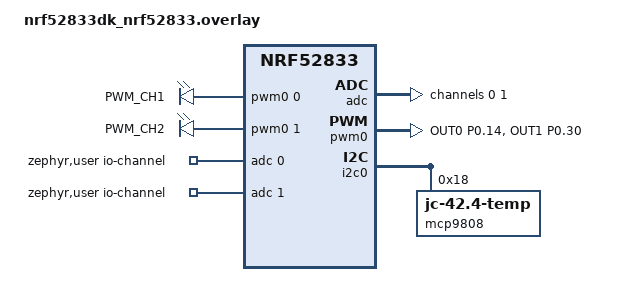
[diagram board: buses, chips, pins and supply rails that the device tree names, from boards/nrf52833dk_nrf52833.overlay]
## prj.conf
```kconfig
CONFIG_LOG=y
CONFIG_LOG_MODE_DEFERRED=y
CONFIG_LOG_BUFFER_SIZE= 2048
# CONFIG_MAIN_STACK_SIZE=4096

CONFIG_SMF=y
CONFIG_EVENTS=y
CONFIG_ADC=y
CONFIG_ADC_ASYNC=y
CONFIG_PWM=y
CONFIG_SENSOR=y
CONFIG_CBPRINTF_FP_SUPPORT=y

CONFIG_DEBUG_OPTIMIZATIONS=y
CONFIG_DEBUG_THREAD_INFO=y

# BLE
CONFIG_BT=y
CONFIG_BT_PERIPHERAL=y
CONFIG_BT_DEVICE_NAME="JESSICA_RUNS_SOMETIMES"
CONFIG_BT_DEVICE_APPEARANCE=0
CONFIG_BT_MAX_CONN=1
CONFIG_BT_LL_SOFTDEVICE=y
CONFIG_BT_BAS=y 
CONFIG_BT_HRS=y
CONFIG_BT_SETTINGS=y
CONFIG_SETTINGS_RUNTIME=y
CONFIG_SETTINGS=y
CONFIG_SETTINGS_NONE=y
CONFIG_BT_GATT_CACHING=n

# DIS (Device Information Service)
CONFIG_BT_DIS=y
CONFIG_BT_DIS_SETTINGS=y
CONFIG_BT_DIS_STR_MAX=25
CONFIG_BT_DIS_MODEL="HLM35_Device"
CONFIG_BT_DIS_MANUF="Duke_University"
CONFIG_BT_DIS_SERIAL_NUMBER=y
CONFIG_BT_DIS_SERIAL_NUMBER_STR="0001"
CONFIG_BT_DIS_FW_REV=y
CONFIG_BT_DIS_FW_REV_STR="1.0.0" 
CONFIG_BT_DIS_HW_REV=y
CONFIG_BT_DIS_HW_REV_STR="1.0.0"
CONFIG_BT_DIS_SW_REV=y
CONFIG_BT_DIS_SW_REV_STR="1.0.0"
CONFIG_BT_DIS_PNP=y
CONFIG_BT_DIS_PNP_VID_SRC=1
CONFIG_BT_DIS_PNP_VID=0x01FF
```

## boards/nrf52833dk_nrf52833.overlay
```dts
/ {
	aliases {
        // add your aliases here; examples:
        heartbeat = &led0;
        battery = &led1;
        ecg = &led2;
        error = &led3; 
        idlereturnbutton = &button0;
        tempbutton = &button1;
        ecgbutton = &button2;  // this corresponds to SW1 on the board
        resetbutton = &button3;
        vadc = &vadc;
        diffch = &diffch;
        pwm1 = &pwmch1;
        pwm2 = &pwmch2;
	    };

        pwm {
            compatible = "pwm-leds";
            pwmch1: pwm_1 {
                pwms = < &pwm0 0 PWM_MSEC(1) PWM_POLARITY_INVERTED>;  // 0 - channel
                label = "PWM_CH1";
            };
            pwmch2: pwm_2 {
                pwms = < &pwm0 1 PWM_MSEC(1) PWM_POLARITY_INVERTED>; // 1 - channel
                label = "PWM_CH2";
            };
        };
        zephyr,user {
            io-channels = <&adc 0>, <&adc 1>; // need to "activate" these channels for IO usage
        };
       
};

&adc {
        #address-cells = <1>;
        #size-cells = <0>;

        vadc: channel@0 {
            reg = <0>;  // channel number
            zephyr,reference = "ADC_REF_INTERNAL";  // voltage ref for SA (0.6 V)
            zephyr,gain = "ADC_GAIN_1_5"; // gain factor to scale ref voltage (1/gain)
            zephyr,acquisition-time = <ADC_ACQ_TIME_DEFAULT>;
            zephyr,input-positive = <NRF_SAADC_AIN0>; // P0.02
            zephyr,resolution = <12>;  // bit depth
        };

        diffch: channel@1 {
        reg = <1>;
        zephyr,reference = "ADC_REF_INTERNAL";   // same reference
        zephyr,gain = "ADC_GAIN_1_5";            // same gain
        zephyr,acquisition-time = <ADC_ACQ_TIME_DEFAULT>;
        zephyr,input-positive = <NRF_SAADC_AIN1>; // P0.03
        zephyr,input-negative = <NRF_SAADC_AIN2>; // P0.04
        zephyr,resolution = <12>;
    };
        status = "okay"; // enable the ADC
    }; 

&pwm0 {
    compatible = "nordic,nrf-pwm";
    reg = <0x4001c000 0x1000>;
    interrupts = <28 NRF_DEFAULT_IRQ_PRIORITY>;
    status = "okay";
    #pwm-cells = <3>;
    pinctrl-0 = <&pwm0_default>;
    pinctrl-1 = <&pwm0_sleep>;
    pinctrl-names = "default", "sleep";
};

&pinctrl {
    compatible = "nordic,nrf-pinctrl";
    status = "okay";
    pwm0_default: pwm0_default {
        group1 {
            psels = <NRF_PSEL(PWM_OUT0, 0, 14)>, // P0.14 (for LED 2), channel 0
                    <NRF_PSEL(PWM_OUT1, 0, 30)>; // P0.30, channel 1
            nordic,invert;
        };
    };
    pwm0_sleep: pwm0_sleep {
        group1 {
            psels = <NRF_PSEL(PWM_OUT0, 0, 14)>, // P0.14 (for LED 2), channel 0
                    <NRF_PSEL(PWM_OUT1, 0, 30)>; // P0.30, channel 1
            low-power-enable;
        };
    };
}; 

&i2c0 {
    mcp9808@18{
        compatible = "jedec,jc-42.4-temp";
        reg = <0x18>;
        status = "okay";
    };

};
```

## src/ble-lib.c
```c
#include "ble-lib.h"

LOG_MODULE_REGISTER(blelib, LOG_LEVEL_DBG);

// define a semaphore to make sure that bt_init_ok() completes before proceeding
// this is probably overkill, but it's a good practice
static K_SEM_DEFINE(bt_init_ok, 1, 1);

#define DEVICE_NAME CONFIG_BT_DEVICE_NAME
#define DEVICE_NAME_LEN (sizeof(DEVICE_NAME)-1)
#define NOMINAL_BATTERY_VOLT_MV 3000  // this might make more sense to have in main.c

// extern means this is defined elsewhere (in this case, main.c)
extern int32_t temperature_degC;  // temperature data characteristic will read from this variable
extern struct k_event errors; // errors characteristic will read from this variable

enum bt_data_notifications_enabled notifications_enabled;

/* Advertising data */
static const struct bt_data ad[] = {
    BT_DATA_BYTES(BT_DATA_FLAGS, (BT_LE_AD_GENERAL | BT_LE_AD_NO_BREDR)),
    BT_DATA(BT_DATA_NAME_COMPLETE, DEVICE_NAME, DEVICE_NAME_LEN)
};

/* Scan response data */
static const struct bt_data sd[] = {
    BT_DATA_BYTES(BT_DATA_UUID128_ALL, BT_UUID_REMOTE_SERV_VAL), 
};

/* UUID of the Remote Service */
// Project ID: 065 (3rd entry)
// BLE MFG ID = 0x02DF (4th entry)
/*  UUID of Data Characteristic  */
struct bt_uuid_128 remote_temperature_data_uuid = BT_UUID_INIT_128(
    BT_UUID_128_ENCODE(0xe9ea0001, 0xe19b, 0x0065, 0x02DF, 0xc7907585fc48));
/*  UUID of Errors Characteristic  */
struct bt_uuid_128 remote_err_uuid = BT_UUID_INIT_128(
    BT_UUID_128_ENCODE(0xe9ea0002, 0xe19b, 0x0065, 0x02DF, 0xc7907585fc48));
/*  UUID of Message Characteristic   */
struct bt_uuid_128 remote_msg_uuid = BT_UUID_INIT_128(
    BT_UUID_128_ENCODE(0xe9ea0003, 0xe19b, 0x0065, 0x02DF, 0xc7907585fc48));

/* Setup services */
BT_GATT_SERVICE_DEFINE(remote_srv,
    BT_GATT_PRIMARY_SERVICE(BT_UUID_REMOTE_SERVICE),
    BT_GATT_CHARACTERISTIC(&remote_temperature_data_uuid.uuid,
                    BT_GATT_CHRC_READ | BT_GATT_CHRC_NOTIFY,
                    BT_GATT_PERM_READ,
                    read_temperature_data_cb, NULL, NULL),
    BT_GATT_CCC(ccc_cfg_changed_cb, BT_GATT_PERM_READ | BT_GATT_PERM_WRITE),
    BT_GATT_CHARACTERISTIC(&remote_err_uuid.uuid,
                    BT_GATT_CHRC_READ | BT_GATT_CHRC_NOTIFY,
                    BT_GATT_PERM_WRITE | BT_GATT_PERM_READ,
                    read_error_cb, NULL, NULL),
    BT_GATT_CCC(ccc_cfg_changed_cb, BT_GATT_PERM_READ | BT_GATT_PERM_WRITE),
    BT_GATT_CHARACTERISTIC(&remote_msg_uuid.uuid,
                    BT_GATT_CHRC_WRITE_WITHOUT_RESP,
                    BT_GATT_PERM_WRITE,
                    NULL, on_write, NULL),
    BT_GATT_CCC(ccc_cfg_changed_cb, BT_GATT_PERM_READ | BT_GATT_PERM_WRITE),
);

struct bt_conn *current_conn;
struct bt_conn_cb bluetooth_callbacks = {
    .connected = on_connected,
    .disconnected = on_disconnected,
};

struct bt_remote_srv_cb remote_service_callbacks = {
    .notif_changed = on_notif_changed,
    .data_rx = on_data_rx,
};

/* Callbacks */
void on_data_rx(struct bt_conn *conn, const uint8_t *const data, uint16_t len) {
    // copy the data to a temporary buffer and append a NULL character
    uint8_t temp_str[len+1];
    memcpy(temp_str, data, len);
    temp_str[len] = 0x00;  // append NULL character at the end
    LOG_INF("BT received data on conn %p. Len: %d", (void *)conn, len);
    LOG_INF("Data: %s", temp_str);
}

void on_connected(struct bt_conn *conn, uint8_t ret) {
    if (ret) {
        LOG_ERR("Connection error: %d", ret);
        return;
    }
    LOG_INF("BT connected");
    current_conn = bt_conn_ref(conn);
}

void on_disconnected(struct bt_conn *conn, uint8_t reason) {
    LOG_INF("BT disconnected (reason: %d)", reason);
    if (current_conn) {
        bt_conn_unref(current_conn);
        current_conn = NULL;
    }
}

void on_notif_changed(enum bt_data_notifications_enabled status) {
    if (status == BT_DATA_NOTIFICATIONS_ENABLED) {
        LOG_INF("BT notifications enabled");
    } else {
        LOG_INF("BT notifications disabled");
    }
}

const struct bt_gatt_attr *attr = &remote_srv.attrs[2];

void ccc_cfg_changed_cb(const struct bt_gatt_attr *attr, uint16_t value) {
    bool notif_enabled = (value == BT_GATT_CCC_NOTIFY);
    LOG_INF("Notifications: %s", notif_enabled? "enabled":"disabled");
    notifications_enabled = notif_enabled? BT_DATA_NOTIFICATIONS_ENABLED:BT_DATA_NOTIFICATIONS_DISABLED;
    if (remote_service_callbacks.notif_changed) {
        remote_service_callbacks.notif_changed(notifications_enabled);
    }
}

/* These callbacks are used when a read request is made to the remote service */
ssize_t read_temperature_data_cb(struct bt_conn *conn, const struct bt_gatt_attr *attr, void *buf, uint16_t len, uint16_t offset) {
    return bt_gatt_attr_read(conn, attr, buf, len, offset, &temperature_degC, sizeof(temperature_degC));
}

ssize_t read_error_cb(struct bt_conn *conn, const struct bt_gatt_attr *attr, void *buf, uint16_t len, uint16_t offset) {
    return bt_gatt_attr_read(conn, attr, buf, len, offset, &errors.events, sizeof(errors.events));
}

ssize_t on_write(struct bt_conn *conn, const struct bt_gatt_attr *attr, const void *buf, uint16_t len, uint16_t offset, uint8_t flags) {
    LOG_INF("Received data, handle %d, conn %p", attr->handle, (void *)conn);
    
    if (remote_service_callbacks.data_rx) {
        remote_service_callbacks.data_rx(conn, buf, len);
    }
    return len;
}


void on_sent(struct bt_conn *conn, void *user_data) {
    ARG_UNUSED(user_data);
    LOG_INF("Notification sent on connection %p", (void *)conn);
}

void bt_ready(int ret) {
    if (ret) {
        LOG_ERR("bt_enable returned %d", ret);
    }
    // release the thread once initialized
    k_sem_give(&bt_init_ok);
}

int bluetooth_init(struct bt_conn_cb *bt_cb, struct bt_remote_srv_cb *remote_cb) {
    LOG_INF("Initializing Bluetooth");
    if ((bt_cb == NULL) | (remote_cb == NULL)) {
        LOG_ERR("Invalid callback(s)");
        return -NRFX_ERROR_NULL;
    }
    bt_conn_cb_register(bt_cb);
    remote_service_callbacks.notif_changed = remote_cb->notif_changed;
    remote_service_callbacks.data_rx = remote_cb->data_rx;
    int ret = bt_enable(bt_ready);
    if (ret) {
        LOG_ERR("bt_enable returned %d", ret);
        return ret;
    }

    // hold the thread until Bluetooth is initialized
    k_sem_take(&bt_init_ok, K_FOREVER);
    if (IS_ENABLED(CONFIG_BT_SETTINGS)) {
        settings_load();
    }
    ret = bt_le_adv_start(BT_LE_ADV_CONN, ad, ARRAY_SIZE(ad), sd, ARRAY_SIZE(sd));
    if (ret) {
        LOG_ERR("Could not start advertising (ret = %d)", ret);
        return ret;
    }
    return ret;
}

/* BAS Functions */
uint8_t bluetooth_get_battery_level(void) {
    uint8_t battery_level;
    battery_level =  bt_bas_get_battery_level();
    LOG_INF("Battery Level: %d pct", battery_level);
    return battery_level;
}

void bluetooth_set_battery_level(int32_t raw_mV) {
    LOG_DBG("Raw Battery: %d mV", raw_mV);
    
    float normalized_level = (float) 100 * raw_mV / NOMINAL_BATTERY_VOLT_MV;
    
    LOG_INF("Normalized Battery Level: %lf", (double)normalized_level);
    int err = bt_bas_set_battery_level((int)normalized_level);
    if (err) {
        LOG_ERR("BAS set error (err = %d)", err);
    }
}

/*read in temperature into bluetooth*/

void bluetooth_notify_temperature() {
    int err = bt_gatt_notify(NULL, &remote_srv.attrs[1], &temperature_degC, sizeof(temperature_degC));
    /*if (err) {
        LOG_ERR("Could not notify temperature %d", err);
    } else {
        LOG_INF("Notified temperature: %1f C", (double)temperature_degC);
    }*/
}
/*read in errors into bluetooth*/
void bluetooth_notify_errors(uint32_t error_event) {
    int err = bt_gatt_notify(NULL, &remote_srv.attrs[4], &error_event, sizeof(error_event));
    LOG_INF("error was notified");
}
```
